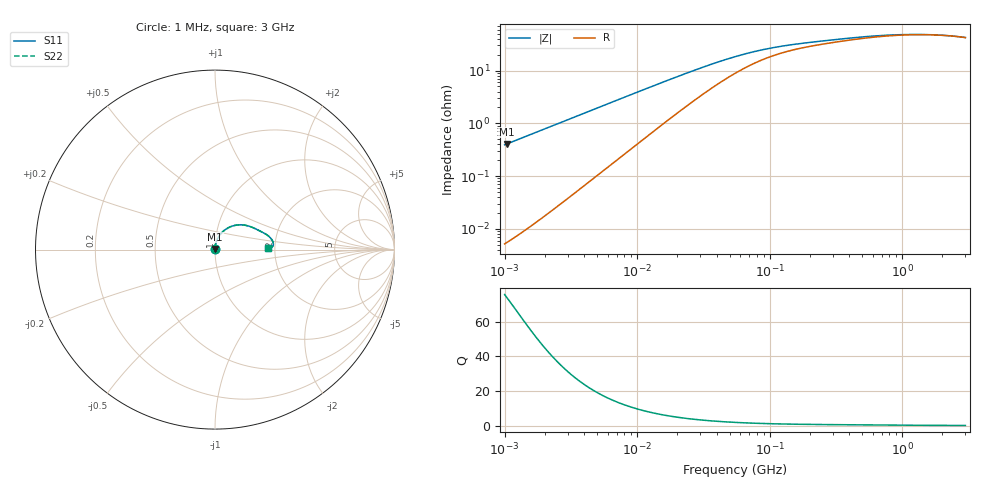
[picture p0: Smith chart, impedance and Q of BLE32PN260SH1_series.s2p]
! BLE32PN260SH1
# Hz S RI R 50
!Freq.(Hz) S11(Real) S11(Imag) S21(Real) S21(Imag) S12(Real) S12(Imag) S22(Real) S22(Imag)
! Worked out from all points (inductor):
!   401 points, 1 MHz to 3 GHz, reference 50 ohm
!   read as one part in series: L = 62.2 nH near 1.041 MHz
!   highest Q = 73.9 at 1.041 MHz (marker M1), where L = 62.2 nH
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1000000  6.7e-05 0.00391  0.9999 -0.00391  0.9999 -0.00391  6.7e-05 0.00391
1040844  7.16e-05 0.00407  0.9999 -0.00407  0.9999 -0.00407  7.16e-05 0.00407
3823119  0.000827 0.0149  0.9992 -0.0149  0.9992 -0.0149  0.000827 0.0149
7858845  0.00342 0.0303  0.9966 -0.0303  0.9966 -0.0303  0.00342 0.0303
1.461624e7  0.0114 0.0547  0.9886 -0.0547  0.9886 -0.0547  0.0114 0.0547
2.181181e7  0.0241 0.0775  0.9759 -0.0775  0.9759 -0.0775  0.0241 0.0775
3.065274e7  0.0435 0.1001  0.9565 -0.1001  0.9565 -0.1001  0.0435 0.1001
4.138676e7  0.0694 0.1192  0.9306 -0.1192  0.9306 -0.1192  0.0694 0.1192
5.477226e7  0.1007 0.1324  0.8993 -0.1324  0.8993 -0.1324  0.1007 0.1324
6.301011e7  0.1182 0.1362  0.8818 -0.1362  0.8818 -0.1362  0.1182 0.1362
7.248696e7  0.136 0.1379  0.864 -0.1379  0.864 -0.1379  0.136 0.1379
8.338914e7  0.1536 0.1375  0.8464 -0.1375  0.8464 -0.1375  0.1536 0.1375
9.787053e7  0.1728 0.1347  0.8272 -0.1347  0.8272 -0.1347  0.1728 0.1347
1.375402e8  0.2081 0.1238  0.7919 -0.1238  0.7919 -0.1238  0.2081 0.1238
2.094008e8  0.2419 0.108  0.7581 -0.108  0.7581 -0.108  0.2419 0.108
4.570858e8  0.2922 0.08  0.7078 -0.08  0.7078 -0.08  0.2922 0.08
6.049187e8  0.3068 0.0676  0.6932 -0.0676  0.6932 -0.0676  0.3068 0.0676
8.005644e8  0.3175 0.0538  0.6825 -0.0538  0.6825 -0.0538  0.3175 0.0538
1.147801e9  0.3245 0.0361  0.6755 -0.0361  0.6755 -0.0361  0.3245 0.0361
1.645649e9  0.3231 0.0208  0.6769 -0.0208  0.6769 -0.0208  0.3231 0.0208
2.221924e9  0.3144 0.0116  0.6856 -0.0116  0.6856 -0.0116  0.3144 0.0116
3e9  0.2969 0.00927  0.7031 -0.00927  0.7031 -0.00927  0.2969 0.00927
